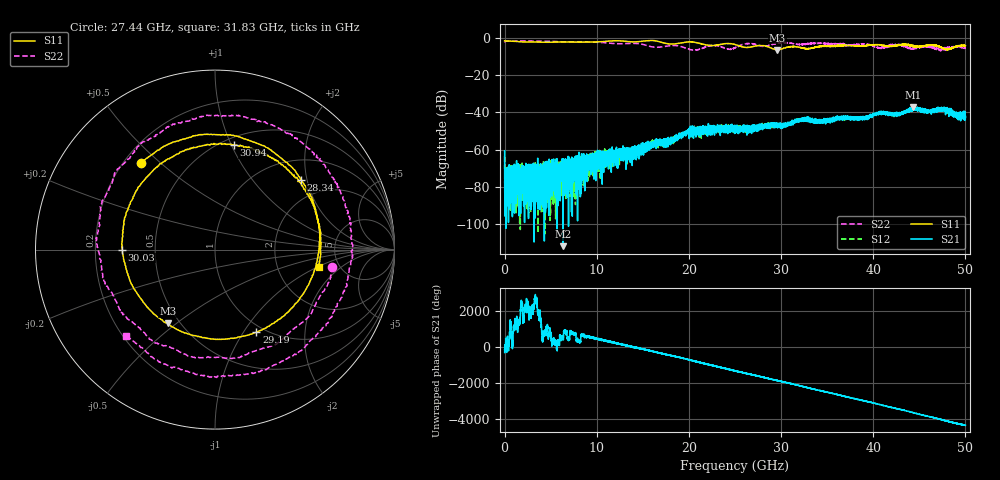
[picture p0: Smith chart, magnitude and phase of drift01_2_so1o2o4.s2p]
!Created with skrf (http://scikit-rf.org).
# Hz S RI R 50.0
!freq ReS11 ImS11 ReS21 ImS21 ReS12 ImS12 ReS22 ImS22
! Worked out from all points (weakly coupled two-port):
!   10001 points, 300 kHz to 50 GHz, reference 50 ohm
!   highest |S21| = -37.09 dB at 44.32 GHz (marker M1); lowest = -112.2 dB at 6.36 GHz (marker M2)
!   lowest |S11| = -6.2 dB at 29.61 GHz (marker M3), VSWR 2.91, Z = 21.6 - j23.3 ohm
!   |S11| at or under -10 dB: nowhere
!   |S22| runs from -6.8 to -1.4 dB; largest |S21 - S12| = 0.0037
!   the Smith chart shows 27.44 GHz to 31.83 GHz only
!   S11 on the Smith chart (normalised r, x): 27.44 GHz: 0.27, +0.43; 28.34 GHz: 1.46, +1.84; 29.19 GHz: 0.91, -1.14; 30.03 GHz: 0.32, -0.00; 30.94 GHz: 0.57, +1.02; 31.83 GHz: 3.52, -1.05
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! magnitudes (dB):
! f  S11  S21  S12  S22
! 300 kHz  -1.3  -60.7  -63.8  -2.2
! 255.3 MHz  -1.4  -72.7  -75.7  -1.4
! 3.02 GHz  -2.0  -69.7  -76.8  -1.4
! 3.525 GHz  -2.0  -73.0  -69.7  -1.5
! 6.36 GHz  -1.9  -112.2  -68.6  -1.9
! 8.335 GHz  -2.0  -77.9  -79.9  -1.8
! 16.67 GHz  -1.7  -56.0  -56.1  -4.8
! 20.38 GHz  -2.0  -48.4  -52.2  -6.3
! 22.6 GHz  -3.9  -50.3  -48.8  -3.7
! 25 GHz  -3.3  -48.0  -48.9  -5.1
! 27.44 GHz  -3.9  -48.1  -48.3  -3.6
! 28.34 GHz  -4.2  -46.3  -46.7  -4.2
! 29.19 GHz  -5.8  -47.3  -46.1  -3.1
! 29.61 GHz  -6.2  -47.1  -46.8  -2.5
! 30.03 GHz  -5.7  -46.3  -46.9  -2.4
! 30.94 GHz  -4.5  -46.3  -46.1  -2.5
! 31.83 GHz  -4.6  -43.6  -43.9  -3.2
! 33.34 GHz  -5.2  -45.3  -44.4  -2.6
! 41.67 GHz  -4.3  -40.9  -40.4  -4.3
! 44.32 GHz  -4.1  -37.1  -38.4  -5.6
! 47.75 GHz  -5.8  -38.5  -38.2  -5.1
! 50 GHz  -4.0  -42.6  -42.5  -5.5
